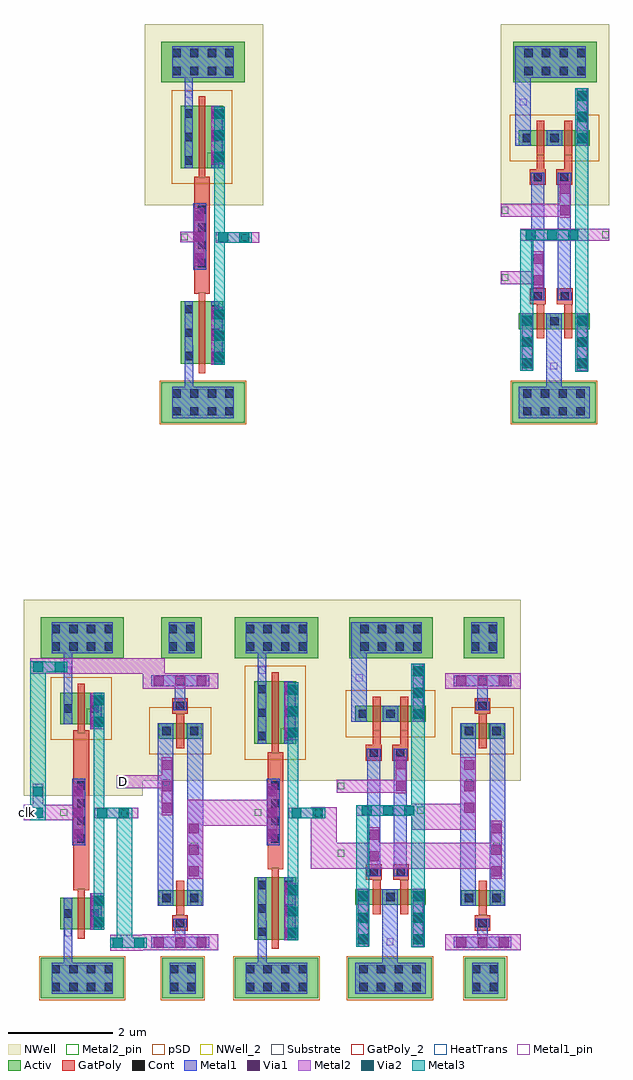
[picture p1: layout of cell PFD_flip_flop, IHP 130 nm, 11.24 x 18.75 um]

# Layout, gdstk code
from math import pi, radians
import gdstk
lib = gdstk.Library(unit=1e-6, precision=1e-09)
def R(c, l, rs):  # rectangles x0, y0, x1, y1
    for r in rs: c.add(gdstk.rectangle(r[:2], r[2:], *l))
def A(c, l, x, y, w, h, nx, ny, dx, dy):  # array of equal rectangles
    R(c, l, [(x+i*dx, y+j*dy, x+i*dx+w, y+j*dy+h) for i in range(nx) for j in range(ny)])
Activ = (1, 0)
GatPoly = (5, 0)
GatPoly_2 = (5, 2)
Cont = (6, 0)
Metal1 = (8, 0)
Metal1_pin = (8, 2)
Metal2 = (10, 0)
Metal2_pin = (10, 2)
pSD = (14, 0)
Via1 = (19, 0)
Via2 = (29, 0)
Metal3 = (30, 0)
NWell = (31, 0)
NWell_2 = (31, 2)
Substrate = (40, 0)
HeatTrans = (51, 0)

pmos_1 = lib.new_cell('pmos$1')
R(pmos_1, Activ, [(0,0,0.3,0.3), (0,0,0.83,0.3), (0.53,0,0.83,0.3)])
R(pmos_1, GatPoly, [(0.34,-0.18,0.49,0.48), (0.34,-0.18,0.49,0.48)])
R(pmos_1, Cont, [(0.07,0.07,0.23,0.23), (0.6,0.07,0.76,0.23)])
R(pmos_1, Metal1, [(0.07,0,0.23,0.3), (0.07,0,0.23,0.3), (0.6,0,0.76,0.3), (0.6,0,0.76,0.3)])
R(pmos_1, pSD, [(-0.18,-0.3,1.01,0.6)])
R(pmos_1, NWell, [(-0.31,-0.31,1.14,0.61)])
R(pmos_1, Substrate, [(0.53,0,0.83,0.3)])
R(pmos_1, HeatTrans, [(0.34,-0.18,0.49,0.48)])
pmos_1.add(gdstk.Label('pmos', (0.415,0.15), layer=63, texttype=0))
pmos_1.add(gdstk.Label('pmos', (0.415,0.15), layer=51, texttype=0))

ntap1_1 = lib.new_cell('ntap1$1')
R(ntap1_1, Activ, [(0,0,1.6,0.78)])
A(ntap1_1, Cont, 0.21, 0.14, 0.16, 0.16, 4, 2, 0.34, 0.34)
R(ntap1_1, Metal1, [(0.21,0.09,1.39,0.69)])
R(ntap1_1, Metal1_pin, [(0.21,0.09,1.39,0.69), (0.21,0.14,1.39,0.64)])
R(ntap1_1, NWell, [(-0.24,-0.24,1.84,1.02), (0,0,1.6,0.78)])
R(ntap1_1, NWell_2, [(0,0,1.6,0.78)])
ntap1_1.add(gdstk.Label('well', (0.8,0.01), layer=63, texttype=0))
ntap1_1.add(gdstk.Label('well', (0.8,0.01), layer=31, texttype=0))

via_5_1 = lib.new_cell('Via$5$1')
R(via_5_1, GatPoly, [(-0.15,-0.15,0.15,0.15)])
R(via_5_1, Cont, [(-0.08,-0.08,0.08,0.08)])
R(via_5_1, Metal1, [(-0.13,-0.08,0.13,0.08)])

via_6_1 = lib.new_cell('Via$6$1')
R(via_6_1, Metal1, [(-0.105,-0.35,0.105,0.35)])
R(via_6_1, Metal2, [(-0.1,-0.35,0.1,0.35)])
R(via_6_1, Via1, [(-0.095,-0.3,0.095,-0.11), (-0.095,0.11,0.095,0.3)])

ptap1_1 = lib.new_cell('ptap1$1')
R(ptap1_1, Activ, [(0,0,1.6,0.78)])
A(ptap1_1, Cont, 0.21, 0.14, 0.16, 0.16, 4, 2, 0.34, 0.34)
R(ptap1_1, Metal1, [(0.21,0.09,1.39,0.69), (0.21,0.14,1.39,0.64)])
R(ptap1_1, Metal1_pin, [(0.21,0.14,1.39,0.64)])
R(ptap1_1, pSD, [(-0.03,-0.03,1.63,0.81)])
R(ptap1_1, Substrate, [(0,0,1.6,0.78)])
ptap1_1.add(gdstk.Label('sub!', (0.8,0.01), layer=63, texttype=0))
ptap1_1.add(gdstk.Label('sub!', (0.8,0.01), layer=40, texttype=0))

nmos_1 = lib.new_cell('nmos$1')
R(nmos_1, Activ, [(0,0,0.3,0.3), (0,0,0.83,0.3), (0.53,0,0.83,0.3)])
R(nmos_1, GatPoly, [(0.34,-0.18,0.49,0.48)])
R(nmos_1, GatPoly_2, [(0.34,-0.18,0.49,0.48)])
R(nmos_1, Cont, [(0.07,0.07,0.23,0.23), (0.6,0.07,0.76,0.23)])
R(nmos_1, Metal1, [(0.07,0,0.23,0.3), (0.6,0,0.76,0.3)])
R(nmos_1, Metal1_pin, [(0.07,0,0.23,0.3), (0.6,0,0.76,0.3)])
R(nmos_1, HeatTrans, [(0.34,-0.18,0.49,0.48)])
nmos_1.add(gdstk.Label('nmos', (0.415,0.15), layer=63, texttype=0))
nmos_1.add(gdstk.Label('nmos', (0.415,0.15), layer=51, texttype=0))

via_2 = lib.new_cell('Via$2')
R(via_2, Metal2, [(-0.1,-0.555,0.1,0.555)])
A(via_2, Via2, -0.095, -0.505, 0.19, 0.19, 1, 3, 0, 0.41)
R(via_2, Metal3, [(-0.1,-0.555,0.1,0.555)])

via_1_1 = lib.new_cell('Via$1$1')
R(via_1_1, Metal1, [(-0.105,-0.555,0.105,0.555)])
R(via_1_1, Metal2, [(-0.1,-0.555,0.1,0.555)])
A(via_1_1, Via1, -0.095, -0.505, 0.19, 0.19, 1, 3, 0, 0.41)

via_7_1 = lib.new_cell('Via$7$1')
R(via_7_1, Metal2, [(-0.555,-0.1,0.555,0.1)])
A(via_7_1, Via2, -0.505, -0.095, 0.19, 0.19, 3, 1, 0.41, 0)
R(via_7_1, Metal3, [(-0.555,-0.1,0.555,0.1)])

pfd_nor_1 = lib.new_cell('PFD_NOR$1')
R(pfd_nor_1, GatPoly, [(0.53,0.13,0.68,0.41), (0,0.14,0.15,0.41)])
R(pfd_nor_1, Metal1, [(-0.34,-4.64,1.02,-4.04), (0.19,0.59,0.49,0.89)])
R(pfd_nor_1, Metal1_pin, [(0.265,-3.705,0.395,-3.575), (-0.325,1.365,-0.195,1.495)])
R(pfd_nor_1, Metal2, [(-0.315,-1.23,1.39,-1)])
R(pfd_nor_1, Metal2_pin, [(-0.675,-2.005,-0.545,-1.875), (1.255,-1.185,1.385,-1.055), (-0.675,-0.715,-0.545,-0.585)])
R(pfd_nor_1, Metal3, [(-0.315,-1.06,-0.26,-1.02)])
R(pfd_nor_1, NWell, [(-0.69,-0.55,1.39,2.93)])
pfd_nor_1.add(gdstk.FlexPath([(0.64,-0.65),(-0.69,-0.65)], 0.25, ends="flush", simple_path=True, layer=10, datatype=0))  # Metal2
pfd_nor_1.add(gdstk.FlexPath([(0.125,-1.945),(-0.69,-1.945)], 0.25, ends="flush", simple_path=True, layer=10, datatype=0))  # Metal2
pfd_nor_1.add(gdstk.FlexPath([(-0.19,-3.735),(-0.19,-1.06)], 0.25, ends="flush", simple_path=True, layer=30, datatype=0))  # Metal3
pfd_nor_1.add(gdstk.FlexPath([(0.87,1.7),(0.87,-3.75)], 0.25, ends="flush", simple_path=True, layer=30, datatype=0))  # Metal3
pfd_nor_1.add(gdstk.FlexPath([(-0.26,0.59),(-0.26,2.5)], 0.3, ends="flush", simple_path=True, layer=8, datatype=0))  # Metal1
pfd_nor_1.add(gdstk.FlexPath([(0.02,0.07),(0.02,-2.38)], 0.25, ends="flush", simple_path=True, layer=8, datatype=0))  # Metal1
pfd_nor_1.add(gdstk.FlexPath([(0.53,0.07),(0.53,-2.38)], 0.25, ends="flush", simple_path=True, layer=8, datatype=0))  # Metal1
pfd_nor_1.add(gdstk.FlexPath([(0.33,-2.63),(0.33,-4.04)], 0.3, ends="flush", simple_path=True, layer=8, datatype=0))  # Metal1
pfd_nor_1.add(gdstk.Reference(pmos_1, (-0.34,0.59)))
pfd_nor_1.add(gdstk.Reference(pmos_1, (0.19,0.59)))
pfd_nor_1.add(gdstk.Reference(ntap1_1, (-0.45,1.81)))
pfd_nor_1.add(gdstk.Reference(via_5_1, (0.02,-0.01)))
pfd_nor_1.add(gdstk.Reference(via_5_1, (0.53,-0.01)))
pfd_nor_1.add(gdstk.Reference(via_5_1, (0.02,-2.3)))
pfd_nor_1.add(gdstk.Reference(via_5_1, (0.54,-2.3)))
pfd_nor_1.add(gdstk.Reference(via_6_1, (0.025,-1.79)))
pfd_nor_1.add(gdstk.Reference(via_6_1, (0.545,-0.44)))
pfd_nor_1.add(gdstk.Reference(ptap1_1, (-0.47,-4.73)))
pfd_nor_1.add(gdstk.Reference(nmos_1, (-0.34,-2.93)))
pfd_nor_1.add(gdstk.Reference(nmos_1, (0.19,-2.93)))
pfd_nor_1.add(gdstk.Reference(via_2, (0.87,1.145)))
pfd_nor_1.add(gdstk.Reference(via_1_1, (0.875,1.145)))
pfd_nor_1.add(gdstk.Reference(via_2, (0.87,-3.18)))
pfd_nor_1.add(gdstk.Reference(via_1_1, (0.875,-3.18)))
pfd_nor_1.add(gdstk.Reference(via_2, (-0.19,-3.18)))
pfd_nor_1.add(gdstk.Reference(via_1_1, (-0.185,-3.18)))
pfd_nor_1.add(gdstk.Reference(via_7_1, (0.295,-1.12)))
pfd_nor_1.add(gdstk.Label('Out', (1.32,-1.12), layer=10, texttype=25))
pfd_nor_1.add(gdstk.Label('A', (-0.61,-0.65), layer=10, texttype=25))
pfd_nor_1.add(gdstk.Label('B', (-0.61,-1.94), layer=10, texttype=25))
pfd_nor_1.add(gdstk.Label('gd', (0.33,-3.64), layer=8, texttype=25))
pfd_nor_1.add(gdstk.Label('vp', (-0.26,1.43), layer=8, texttype=25))

pmos_2 = lib.new_cell('pmos$2')
R(pmos_2, Activ, [(0,0,0.3,0.3), (0,0,0.83,0.3), (0.53,0,0.83,0.3)])
R(pmos_2, GatPoly, [(0.34,-0.18,0.49,0.48), (0.34,-0.18,0.49,0.48)])
R(pmos_2, Cont, [(0.07,0.07,0.23,0.23), (0.6,0.07,0.76,0.23)])
R(pmos_2, Metal1, [(0.07,0,0.23,0.3), (0.07,0,0.23,0.3), (0.6,0,0.76,0.3), (0.6,0,0.76,0.3)])
R(pmos_2, pSD, [(-0.18,-0.3,1.01,0.6)])
R(pmos_2, NWell, [(-0.31,-0.31,1.14,0.61)])
R(pmos_2, Substrate, [(0.53,0,0.83,0.3)])
R(pmos_2, HeatTrans, [(0.34,-0.18,0.49,0.48)])
pmos_2.add(gdstk.Label('pmos', (0.415,0.15), layer=63, texttype=0))
pmos_2.add(gdstk.Label('pmos', (0.415,0.15), layer=51, texttype=0))

nmos_2 = lib.new_cell('nmos$2')
R(nmos_2, Activ, [(0,0,0.3,0.3), (0,0,0.83,0.3), (0.53,0,0.83,0.3)])
R(nmos_2, GatPoly, [(0.34,-0.18,0.49,0.48)])
R(nmos_2, GatPoly_2, [(0.34,-0.18,0.49,0.48)])
R(nmos_2, Cont, [(0.07,0.07,0.23,0.23), (0.6,0.07,0.76,0.23)])
R(nmos_2, Metal1, [(0.07,0,0.23,0.3), (0.6,0,0.76,0.3)])
R(nmos_2, Metal1_pin, [(0.07,0,0.23,0.3), (0.6,0,0.76,0.3)])
R(nmos_2, HeatTrans, [(0.34,-0.18,0.49,0.48)])
nmos_2.add(gdstk.Label('nmos', (0.415,0.15), layer=63, texttype=0))
nmos_2.add(gdstk.Label('nmos', (0.415,0.15), layer=51, texttype=0))

ptap1_2 = lib.new_cell('ptap1$2')
R(ptap1_2, Activ, [(0,0,0.78,0.78)])
R(ptap1_2, Cont, [(0.14,0.14,0.3,0.3), (0.48,0.14,0.64,0.3), (0.14,0.48,0.3,0.64), (0.48,0.48,0.64,0.64)])
R(ptap1_2, Metal1, [(0.14,0.09,0.64,0.69), (0.14,0.14,0.64,0.64)])
R(ptap1_2, Metal1_pin, [(0.14,0.14,0.64,0.64)])
R(ptap1_2, pSD, [(-0.03,-0.03,0.81,0.81)])
R(ptap1_2, Substrate, [(0,0,0.78,0.78)])
ptap1_2.add(gdstk.Label('sub!', (0.39,0.01), layer=63, texttype=0))
ptap1_2.add(gdstk.Label('sub!', (0.39,0.01), layer=40, texttype=0))

ntap1_2 = lib.new_cell('ntap1$2')
R(ntap1_2, Activ, [(0,0,0.78,0.78)])
R(ntap1_2, Cont, [(0.14,0.14,0.3,0.3), (0.48,0.14,0.64,0.3), (0.14,0.48,0.3,0.64), (0.48,0.48,0.64,0.64)])
R(ntap1_2, Metal1, [(0.14,0.09,0.64,0.69)])
R(ntap1_2, Metal1_pin, [(0.14,0.09,0.64,0.69), (0.14,0.14,0.64,0.64)])
R(ntap1_2, NWell, [(-0.24,-0.24,1.02,1.02), (0,0,0.78,0.78)])
R(ntap1_2, NWell_2, [(0,0,0.78,0.78)])
ntap1_2.add(gdstk.Label('well', (0.39,0.01), layer=63, texttype=0))
ntap1_2.add(gdstk.Label('well', (0.39,0.01), layer=31, texttype=0))

via_10 = lib.new_cell('Via$10')
R(via_10, Metal1, [(-0.555,-0.105,0.555,0.105)])
R(via_10, Metal2, [(-0.555,-0.1,0.555,0.1)])
A(via_10, Via1, -0.505, -0.095, 0.19, 0.19, 3, 1, 0.41, 0)

via_5_2 = lib.new_cell('Via$5$2')
R(via_5_2, GatPoly, [(-0.15,-0.15,0.15,0.15)])
R(via_5_2, Cont, [(-0.08,-0.08,0.08,0.08)])
R(via_5_2, Metal1, [(-0.13,-0.08,0.13,0.08)])

via_3 = lib.new_cell('Via$3')
R(via_3, Metal1, [(-0.105,-0.555,0.105,0.555)])
R(via_3, Metal2, [(-0.1,-0.555,0.1,0.555)])
A(via_3, Via1, -0.095, -0.505, 0.19, 0.19, 1, 3, 0, 0.41)

pfd_passgate = lib.new_cell('PFD_passgate')
R(pfd_passgate, Metal1_pin, [(-3.245,-4.395,-3.115,-4.265), (-3.245,2.135,-3.115,2.265)])
R(pfd_passgate, Metal2_pin, [(-3.295,-3.705,-3.165,-3.575), (-3.015,-1.865,-2.885,-1.735), (-3.545,-0.645,-3.415,-0.515), (-3.285,1.295,-3.155,1.425)])
R(pfd_passgate, NWell, [(-3.94,-0.55,-2.49,2.83), (-3.94,2.83,-2.49,2.93)])
pfd_passgate.add(gdstk.FlexPath([(-3.94,-3.65),(-2.49,-3.65)], 0.3, ends="flush", simple_path=True, layer=10, datatype=0))  # Metal2
pfd_passgate.add(gdstk.FlexPath([(-3.94,1.37),(-2.49,1.37)], 0.3, ends="flush", simple_path=True, layer=10, datatype=0))  # Metal2
pfd_passgate.add(gdstk.FlexPath([(-2.93,0.56),(-2.93,-2.95)], 0.3, ends="flush", simple_path=True, layer=8, datatype=0))  # Metal1
pfd_passgate.add(gdstk.FlexPath([(-3.5,0.56),(-3.5,-2.95)], 0.3, ends="flush", simple_path=True, layer=8, datatype=0))  # Metal1
pfd_passgate.add(gdstk.FlexPath([(-3.22,0.81),(-3.22,1.33)], 0.2, ends="flush", simple_path=True, layer=8, datatype=0))  # Metal1
pfd_passgate.add(gdstk.FlexPath([(-3.22,-3.72),(-3.22,-3.2)], 0.2, ends="flush", simple_path=True, layer=8, datatype=0))  # Metal1
pfd_passgate.add(gdstk.Reference(pmos_2, (-3.63,0.26)))
pfd_passgate.add(gdstk.Reference(nmos_2, (-3.63,-2.95)))
pfd_passgate.add(gdstk.Reference(ptap1_2, (-3.56,-4.73)))
pfd_passgate.add(gdstk.Reference(ntap1_2, (-3.58,1.81)))
pfd_passgate.add(gdstk.Reference(via_10, (-3.22,1.37)))
pfd_passgate.add(gdstk.Reference(via_5_2, (-3.22,0.89)))
pfd_passgate.add(gdstk.Reference(via_5_2, (-3.22,-3.28)))
pfd_passgate.add(gdstk.Reference(via_10, (-3.22,-3.65)))
pfd_passgate.add(gdstk.Reference(via_3, (-3.475,-0.655)))
pfd_passgate.add(gdstk.Reference(via_3, (-2.955,-1.875)))
pfd_passgate.add(gdstk.Label('A', (-3.48,-0.58), layer=10, texttype=25))
pfd_passgate.add(gdstk.Label('B', (-2.95,-1.8), layer=10, texttype=25))
pfd_passgate.add(gdstk.Label('in_p', (-3.22,1.36), layer=10, texttype=25))
pfd_passgate.add(gdstk.Label('in_n', (-3.23,-3.64), layer=10, texttype=25))
pfd_passgate.add(gdstk.Label('gnd', (-3.18,-4.33), layer=8, texttype=25))
pfd_passgate.add(gdstk.Label('vp', (-3.18,2.2), layer=8, texttype=25))

pmos_2_2 = lib.new_cell('pmos$2$2')
R(pmos_2_2, Activ, [(0,0,0.3,0.3), (0,0,0.83,0.3), (0.53,0,0.83,0.3)])
R(pmos_2_2, GatPoly, [(0.34,-0.18,0.49,0.48), (0.34,-0.18,0.49,0.48)])
R(pmos_2_2, Cont, [(0.07,0.07,0.23,0.23), (0.6,0.07,0.76,0.23)])
R(pmos_2_2, Metal1, [(0.07,0,0.23,0.3), (0.07,0,0.23,0.3), (0.6,0,0.76,0.3), (0.6,0,0.76,0.3)])
R(pmos_2_2, pSD, [(-0.18,-0.3,1.01,0.6)])
R(pmos_2_2, NWell, [(-0.31,-0.31,1.14,0.61)])
R(pmos_2_2, Substrate, [(0.53,0,0.83,0.3)])
R(pmos_2_2, HeatTrans, [(0.34,-0.18,0.49,0.48)])
pmos_2_2.add(gdstk.Label('pmos', (0.415,0.15), layer=63, texttype=0))
pmos_2_2.add(gdstk.Label('pmos', (0.415,0.15), layer=51, texttype=0))

nmos_2_2 = lib.new_cell('nmos$2$2')
R(nmos_2_2, Activ, [(0,0,0.3,0.3), (0,0,0.83,0.3), (0.53,0,0.83,0.3)])
R(nmos_2_2, GatPoly, [(0.34,-0.18,0.49,0.48)])
R(nmos_2_2, GatPoly_2, [(0.34,-0.18,0.49,0.48)])
R(nmos_2_2, Cont, [(0.07,0.07,0.23,0.23), (0.6,0.07,0.76,0.23)])
R(nmos_2_2, Metal1, [(0.07,0,0.23,0.3), (0.6,0,0.76,0.3)])
R(nmos_2_2, Metal1_pin, [(0.07,0,0.23,0.3), (0.6,0,0.76,0.3)])
R(nmos_2_2, HeatTrans, [(0.34,-0.18,0.49,0.48)])
nmos_2_2.add(gdstk.Label('nmos', (0.415,0.15), layer=63, texttype=0))
nmos_2_2.add(gdstk.Label('nmos', (0.415,0.15), layer=51, texttype=0))

ptap1_2_2 = lib.new_cell('ptap1$2$2')
R(ptap1_2_2, Activ, [(0,0,0.78,0.78)])
R(ptap1_2_2, Cont, [(0.14,0.14,0.3,0.3), (0.48,0.14,0.64,0.3), (0.14,0.48,0.3,0.64), (0.48,0.48,0.64,0.64)])
R(ptap1_2_2, Metal1, [(0.14,0.09,0.64,0.69), (0.14,0.14,0.64,0.64)])
R(ptap1_2_2, Metal1_pin, [(0.14,0.14,0.64,0.64)])
R(ptap1_2_2, pSD, [(-0.03,-0.03,0.81,0.81)])
R(ptap1_2_2, Substrate, [(0,0,0.78,0.78)])
ptap1_2_2.add(gdstk.Label('sub!', (0.39,0.01), layer=63, texttype=0))
ptap1_2_2.add(gdstk.Label('sub!', (0.39,0.01), layer=40, texttype=0))

ntap1_2_2 = lib.new_cell('ntap1$2$2')
R(ntap1_2_2, Activ, [(0,0,0.78,0.78)])
R(ntap1_2_2, Cont, [(0.14,0.14,0.3,0.3), (0.48,0.14,0.64,0.3), (0.14,0.48,0.3,0.64), (0.48,0.48,0.64,0.64)])
R(ntap1_2_2, Metal1, [(0.14,0.09,0.64,0.69)])
R(ntap1_2_2, Metal1_pin, [(0.14,0.09,0.64,0.69), (0.14,0.14,0.64,0.64)])
R(ntap1_2_2, NWell, [(-0.24,-0.24,1.02,1.02), (0,0,0.78,0.78)])
R(ntap1_2_2, NWell_2, [(0,0,0.78,0.78)])
ntap1_2_2.add(gdstk.Label('well', (0.39,0.01), layer=63, texttype=0))
ntap1_2_2.add(gdstk.Label('well', (0.39,0.01), layer=31, texttype=0))

via_10_2 = lib.new_cell('Via$10$2')
R(via_10_2, Metal1, [(-0.555,-0.105,0.555,0.105)])
R(via_10_2, Metal2, [(-0.555,-0.1,0.555,0.1)])
A(via_10_2, Via1, -0.505, -0.095, 0.19, 0.19, 3, 1, 0.41, 0)

via_5_2_2 = lib.new_cell('Via$5$2$2')
R(via_5_2_2, GatPoly, [(-0.15,-0.15,0.15,0.15)])
R(via_5_2_2, Cont, [(-0.08,-0.08,0.08,0.08)])
R(via_5_2_2, Metal1, [(-0.13,-0.08,0.13,0.08)])

via_3_3 = lib.new_cell('Via$3$3')
R(via_3_3, Metal1, [(-0.105,-0.555,0.105,0.555)])
R(via_3_3, Metal2, [(-0.1,-0.555,0.1,0.555)])
A(via_3_3, Via1, -0.095, -0.505, 0.19, 0.19, 1, 3, 0, 0.41)

pfd_passgate_2 = lib.new_cell('PFD_passgate$2')
R(pfd_passgate_2, Metal1_pin, [(-3.245,-4.395,-3.115,-4.265), (-3.245,2.135,-3.115,2.265)])
R(pfd_passgate_2, Metal2_pin, [(-3.295,-3.705,-3.165,-3.575), (-3.015,-1.865,-2.885,-1.735), (-3.545,-0.645,-3.415,-0.515), (-3.285,1.295,-3.155,1.425)])
R(pfd_passgate_2, NWell, [(-3.94,-0.55,-2.49,2.83), (-3.94,2.83,-2.49,2.93)])
pfd_passgate_2.add(gdstk.FlexPath([(-3.94,-3.65),(-2.49,-3.65)], 0.3, ends="flush", simple_path=True, layer=10, datatype=0))  # Metal2
pfd_passgate_2.add(gdstk.FlexPath([(-3.94,1.37),(-2.49,1.37)], 0.3, ends="flush", simple_path=True, layer=10, datatype=0))  # Metal2
pfd_passgate_2.add(gdstk.FlexPath([(-2.93,0.56),(-2.93,-2.95)], 0.3, ends="flush", simple_path=True, layer=8, datatype=0))  # Metal1
pfd_passgate_2.add(gdstk.FlexPath([(-3.5,0.56),(-3.5,-2.95)], 0.3, ends="flush", simple_path=True, layer=8, datatype=0))  # Metal1
pfd_passgate_2.add(gdstk.FlexPath([(-3.22,0.81),(-3.22,1.33)], 0.2, ends="flush", simple_path=True, layer=8, datatype=0))  # Metal1
pfd_passgate_2.add(gdstk.FlexPath([(-3.22,-3.72),(-3.22,-3.2)], 0.2, ends="flush", simple_path=True, layer=8, datatype=0))  # Metal1
pfd_passgate_2.add(gdstk.Reference(pmos_2_2, (-3.63,0.26)))
pfd_passgate_2.add(gdstk.Reference(nmos_2_2, (-3.63,-2.95)))
pfd_passgate_2.add(gdstk.Reference(ptap1_2_2, (-3.56,-4.73)))
pfd_passgate_2.add(gdstk.Reference(ntap1_2_2, (-3.58,1.81)))
pfd_passgate_2.add(gdstk.Reference(via_10_2, (-3.22,1.37)))
pfd_passgate_2.add(gdstk.Reference(via_5_2_2, (-3.22,0.89)))
pfd_passgate_2.add(gdstk.Reference(via_5_2_2, (-3.22,-3.28)))
pfd_passgate_2.add(gdstk.Reference(via_10_2, (-3.22,-3.65)))
pfd_passgate_2.add(gdstk.Reference(via_3_3, (-3.475,-0.655)))
pfd_passgate_2.add(gdstk.Reference(via_3_3, (-2.955,-1.875)))
pfd_passgate_2.add(gdstk.Label('A', (-3.48,-0.58), layer=10, texttype=25))
pfd_passgate_2.add(gdstk.Label('B', (-2.95,-1.8), layer=10, texttype=25))
pfd_passgate_2.add(gdstk.Label('in_p', (-3.22,1.36), layer=10, texttype=25))
pfd_passgate_2.add(gdstk.Label('in_n', (-3.23,-3.64), layer=10, texttype=25))
pfd_passgate_2.add(gdstk.Label('gnd', (-3.18,-4.33), layer=8, texttype=25))
pfd_passgate_2.add(gdstk.Label('vp', (-3.18,2.2), layer=8, texttype=25))

via_4 = lib.new_cell('Via$4')
R(via_4, Metal2, [(-0.1,-0.555,0.1,0.555)])
A(via_4, Via2, -0.095, -0.505, 0.19, 0.19, 1, 3, 0, 0.41)
R(via_4, Metal3, [(-0.1,-0.555,0.1,0.555)])

via_2_1 = lib.new_cell('Via$2$1')
R(via_2_1, Metal1, [(-0.105,-0.555,0.105,0.555)])
R(via_2_1, Metal2, [(-0.1,-0.555,0.1,0.555)])
A(via_2_1, Via1, -0.095, -0.505, 0.19, 0.19, 1, 3, 0, 0.41)

via_3_2 = lib.new_cell('Via$3$2')
R(via_3_2, Metal2, [(-0.35,-0.1,0.35,0.1)])
R(via_3_2, Via2, [(-0.3,-0.095,-0.11,0.095), (0.11,-0.095,0.3,0.095)])
R(via_3_2, Metal3, [(-0.35,-0.1,0.35,0.1)])

ntap1_3 = lib.new_cell('ntap1$3')
R(ntap1_3, Activ, [(0,0,1.6,0.78)])
A(ntap1_3, Cont, 0.21, 0.14, 0.16, 0.16, 4, 2, 0.34, 0.34)
R(ntap1_3, Metal1, [(0.21,0.09,1.39,0.69)])
R(ntap1_3, Metal1_pin, [(0.21,0.09,1.39,0.69), (0.21,0.14,1.39,0.64)])
R(ntap1_3, NWell, [(-0.24,-0.24,1.84,1.02), (0,0,1.6,0.78)])
R(ntap1_3, NWell_2, [(0,0,1.6,0.78)])
ntap1_3.add(gdstk.Label('well', (0.8,0.01), layer=63, texttype=0))
ntap1_3.add(gdstk.Label('well', (0.8,0.01), layer=31, texttype=0))

ptap1_3 = lib.new_cell('ptap1$3')
R(ptap1_3, Activ, [(0,0,1.6,0.78)])
A(ptap1_3, Cont, 0.21, 0.14, 0.16, 0.16, 4, 2, 0.34, 0.34)
R(ptap1_3, Metal1, [(0.21,0.09,1.39,0.69), (0.21,0.14,1.39,0.64)])
R(ptap1_3, Metal1_pin, [(0.21,0.14,1.39,0.64)])
R(ptap1_3, pSD, [(-0.03,-0.03,1.63,0.81)])
R(ptap1_3, Substrate, [(0,0,1.6,0.78)])
ptap1_3.add(gdstk.Label('sub!', (0.8,0.01), layer=63, texttype=0))
ptap1_3.add(gdstk.Label('sub!', (0.8,0.01), layer=40, texttype=0))

nmos_3 = lib.new_cell('nmos$3')
R(nmos_3, Activ, [(0,0,0.3,0.3), (0,0,0.81,1.2), (0.51,0,0.81,0.3)])
R(nmos_3, GatPoly, [(0.34,-0.18,0.47,1.38)])
R(nmos_3, GatPoly_2, [(0.34,-0.18,0.47,1.38)])
A(nmos_3, Cont, 0.07, 0.07, 0.16, 0.16, 1, 3, 0, 0.45)
A(nmos_3, Cont, 0.58, 0.07, 0.16, 0.16, 1, 3, 0, 0.45)
R(nmos_3, Metal1, [(0.07,0,0.23,1.2), (0.58,0,0.74,1.2)])
R(nmos_3, Metal1_pin, [(0.07,0,0.23,1.2), (0.58,0,0.74,1.2)])
R(nmos_3, HeatTrans, [(0.34,-0.18,0.47,1.38)])
nmos_3.add(gdstk.Label('nmos', (0.405,0.6), layer=63, texttype=0))
nmos_3.add(gdstk.Label('nmos', (0.405,0.6), layer=51, texttype=0))

pmos_3 = lib.new_cell('pmos$3')
R(pmos_3, Activ, [(0,0,0.3,0.3), (0,0,0.81,1.2), (0.51,0,0.81,0.3)])
R(pmos_3, GatPoly, [(0.34,-0.18,0.47,1.38), (0.34,-0.18,0.47,1.38)])
A(pmos_3, Cont, 0.07, 0.07, 0.16, 0.16, 1, 3, 0, 0.45)
A(pmos_3, Cont, 0.58, 0.07, 0.16, 0.16, 1, 3, 0, 0.45)
R(pmos_3, Metal1, [(0.07,0,0.23,1.2), (0.07,0,0.23,1.2), (0.58,0,0.74,1.2), (0.58,0,0.74,1.2)])
R(pmos_3, pSD, [(-0.18,-0.3,0.99,1.5)])
R(pmos_3, NWell, [(-0.31,-0.31,1.12,1.51)])
R(pmos_3, Substrate, [(0.51,0,0.81,0.3)])
R(pmos_3, HeatTrans, [(0.34,-0.18,0.47,1.38)])
pmos_3.add(gdstk.Label('pmos', (0.405,0.6), layer=63, texttype=0))
pmos_3.add(gdstk.Label('pmos', (0.405,0.6), layer=51, texttype=0))

via_4_1 = lib.new_cell('Via$4$1')
R(via_4_1, GatPoly, [(-0.15,-0.66,0.15,0.66)])
A(via_4_1, Cont, -0.08, -0.59, 0.16, 0.16, 1, 4, 0, 0.34)
R(via_4_1, Metal1, [(-0.08,-0.64,0.08,0.64)])

inverter_x8 = lib.new_cell('inverter_x8')
R(inverter_x8, GatPoly, [(-0.265,-2.855,-0.135,-2.655), (-0.35,-2.25,-0.05,-1.81), (-0.35,-0.49,-0.05,0)])
R(inverter_x8, Metal1, [(-0.535,-4.45,-0.37,-3.805), (-0.535,-3.805,-0.37,-3.24), (-0.37,-1.79,-0.35,-0.51), (-0.35,-1.79,-0.28,-0.51), (-0.535,0.96,-0.375,1.26), (-0.535,1.245,-0.375,2.235)])
R(inverter_x8, Metal1_pin, [(-0.52,-3.54,-0.39,-3.41), (-0.52,1.51,-0.39,1.64)])
R(inverter_x8, Metal2, [(0.53,-1.27,0.9,-1.07), (-0.62,-1.26,-0.28,-1.06)])
R(inverter_x8, Metal2_pin, [(0.555,-1.235,0.685,-1.105), (-0.6,-1.225,-0.47,-1.095)])
R(inverter_x8, Metal3, [(0.04,-3.09,0.24,-2.63), (0.04,-2.7,0.24,-0.24), (0.04,-0.34,0.24,0.76)])
R(inverter_x8, NWell, [(-1.3,-0.55,0.98,0.655), (-1.3,0.655,0.755,2.925), (0.755,0.655,0.98,2.925)])
inverter_x8.add(gdstk.Reference(via_4, (0.14,-3.06)))
inverter_x8.add(gdstk.Reference(via_2_1, (0.08,-3.06)))
inverter_x8.add(gdstk.Reference(via_2_1, (-0.26,-1.16)))
inverter_x8.add(gdstk.Reference(via_3_2, (0.41,-1.17)))
inverter_x8.add(gdstk.Reference(via_4, (0.14,0.79)))
inverter_x8.add(gdstk.Reference(via_2_1, (0.08,0.79)))
inverter_x8.add(gdstk.Reference(ntap1_3, (-0.98,1.81)))
inverter_x8.add(gdstk.Reference(ptap1_3, (-0.98,-4.73)))
inverter_x8.add(gdstk.Reference(nmos_3, (-0.605,-3.6)))
inverter_x8.add(gdstk.Reference(pmos_3, (-0.605,0.16)))
inverter_x8.add(gdstk.Reference(via_4_1, (-0.2,-1.15)))
inverter_x8.add(gdstk.Label('OUT', (0.62,-1.17), layer=10, texttype=25))
inverter_x8.add(gdstk.Label('IN', (-0.54,-1.16), layer=10, texttype=25))
inverter_x8.add(gdstk.Label('GND', (-0.455,-3.47), layer=8, texttype=25))
inverter_x8.add(gdstk.Label('VP', (-0.455,1.57), layer=8, texttype=25))

via_4_2 = lib.new_cell('Via$4$2')
R(via_4_2, Metal2, [(-0.1,-0.555,0.1,0.555)])
A(via_4_2, Via2, -0.095, -0.505, 0.19, 0.19, 1, 3, 0, 0.41)
R(via_4_2, Metal3, [(-0.1,-0.555,0.1,0.555)])

via_2_1_1 = lib.new_cell('Via$2$1$1')
R(via_2_1_1, Metal1, [(-0.105,-0.555,0.105,0.555)])
R(via_2_1_1, Metal2, [(-0.1,-0.555,0.1,0.555)])
A(via_2_1_1, Via1, -0.095, -0.505, 0.19, 0.19, 1, 3, 0, 0.41)

via_3_2_1 = lib.new_cell('Via$3$2$1')
R(via_3_2_1, Metal2, [(-0.35,-0.1,0.35,0.1)])
R(via_3_2_1, Via2, [(-0.3,-0.095,-0.11,0.095), (0.11,-0.095,0.3,0.095)])
R(via_3_2_1, Metal3, [(-0.35,-0.1,0.35,0.1)])

ntap1_3_1 = lib.new_cell('ntap1$3$1')
R(ntap1_3_1, Activ, [(0,0,1.6,0.78)])
A(ntap1_3_1, Cont, 0.21, 0.14, 0.16, 0.16, 4, 2, 0.34, 0.34)
R(ntap1_3_1, Metal1, [(0.21,0.09,1.39,0.69)])
R(ntap1_3_1, Metal1_pin, [(0.21,0.09,1.39,0.69), (0.21,0.14,1.39,0.64)])
R(ntap1_3_1, NWell, [(-0.24,-0.24,1.84,1.02), (0,0,1.6,0.78)])
R(ntap1_3_1, NWell_2, [(0,0,1.6,0.78)])
ntap1_3_1.add(gdstk.Label('well', (0.8,0.01), layer=63, texttype=0))
ntap1_3_1.add(gdstk.Label('well', (0.8,0.01), layer=31, texttype=0))

ptap1_3_1 = lib.new_cell('ptap1$3$1')
R(ptap1_3_1, Activ, [(0,0,1.6,0.78)])
A(ptap1_3_1, Cont, 0.21, 0.14, 0.16, 0.16, 4, 2, 0.34, 0.34)
R(ptap1_3_1, Metal1, [(0.21,0.09,1.39,0.69), (0.21,0.14,1.39,0.64)])
R(ptap1_3_1, Metal1_pin, [(0.21,0.14,1.39,0.64)])
R(ptap1_3_1, pSD, [(-0.03,-0.03,1.63,0.81)])
R(ptap1_3_1, Substrate, [(0,0,1.6,0.78)])
ptap1_3_1.add(gdstk.Label('sub!', (0.8,0.01), layer=63, texttype=0))
ptap1_3_1.add(gdstk.Label('sub!', (0.8,0.01), layer=40, texttype=0))

nmos_3_1 = lib.new_cell('nmos$3$1')
R(nmos_3_1, Activ, [(0,0,0.3,0.3), (0,0,0.81,1.2), (0.51,0,0.81,0.3)])
R(nmos_3_1, GatPoly, [(0.34,-0.18,0.47,1.38)])
R(nmos_3_1, GatPoly_2, [(0.34,-0.18,0.47,1.38)])
A(nmos_3_1, Cont, 0.07, 0.07, 0.16, 0.16, 1, 3, 0, 0.45)
A(nmos_3_1, Cont, 0.58, 0.07, 0.16, 0.16, 1, 3, 0, 0.45)
R(nmos_3_1, Metal1, [(0.07,0,0.23,1.2), (0.58,0,0.74,1.2)])
R(nmos_3_1, Metal1_pin, [(0.07,0,0.23,1.2), (0.58,0,0.74,1.2)])
R(nmos_3_1, HeatTrans, [(0.34,-0.18,0.47,1.38)])
nmos_3_1.add(gdstk.Label('nmos', (0.405,0.6), layer=63, texttype=0))
nmos_3_1.add(gdstk.Label('nmos', (0.405,0.6), layer=51, texttype=0))

pmos_3_1 = lib.new_cell('pmos$3$1')
R(pmos_3_1, Activ, [(0,0,0.3,0.3), (0,0,0.81,1.2), (0.51,0,0.81,0.3)])
R(pmos_3_1, GatPoly, [(0.34,-0.18,0.47,1.38), (0.34,-0.18,0.47,1.38)])
A(pmos_3_1, Cont, 0.07, 0.07, 0.16, 0.16, 1, 3, 0, 0.45)
A(pmos_3_1, Cont, 0.58, 0.07, 0.16, 0.16, 1, 3, 0, 0.45)
R(pmos_3_1, Metal1, [(0.07,0,0.23,1.2), (0.07,0,0.23,1.2), (0.58,0,0.74,1.2), (0.58,0,0.74,1.2)])
R(pmos_3_1, pSD, [(-0.18,-0.3,0.99,1.5)])
R(pmos_3_1, NWell, [(-0.31,-0.31,1.12,1.51)])
R(pmos_3_1, Substrate, [(0.51,0,0.81,0.3)])
R(pmos_3_1, HeatTrans, [(0.34,-0.18,0.47,1.38)])
pmos_3_1.add(gdstk.Label('pmos', (0.405,0.6), layer=63, texttype=0))
pmos_3_1.add(gdstk.Label('pmos', (0.405,0.6), layer=51, texttype=0))

via_4_1_1 = lib.new_cell('Via$4$1$1')
R(via_4_1_1, GatPoly, [(-0.15,-0.66,0.15,0.66)])
A(via_4_1_1, Cont, -0.08, -0.59, 0.16, 0.16, 1, 4, 0, 0.34)
R(via_4_1_1, Metal1, [(-0.08,-0.64,0.08,0.64)])

inverter_x8_1 = lib.new_cell('inverter_x8$1')
R(inverter_x8_1, GatPoly, [(-0.265,-2.855,-0.135,-2.655), (-0.35,-2.25,-0.05,-1.81), (-0.35,-0.49,-0.05,0)])
R(inverter_x8_1, Metal1, [(-0.535,-4.45,-0.37,-3.805), (-0.535,-3.805,-0.37,-3.24), (-0.37,-1.79,-0.35,-0.51), (-0.35,-1.79,-0.28,-0.51), (-0.535,0.96,-0.375,1.26), (-0.535,1.245,-0.375,2.235)])
R(inverter_x8_1, Metal1_pin, [(-0.52,-3.54,-0.39,-3.41), (-0.52,1.51,-0.39,1.64)])
R(inverter_x8_1, Metal2, [(0.53,-1.27,0.9,-1.07), (-0.62,-1.26,-0.28,-1.06)])
R(inverter_x8_1, Metal2_pin, [(0.555,-1.235,0.685,-1.105), (-0.6,-1.225,-0.47,-1.095)])
R(inverter_x8_1, Metal3, [(0.04,-3.09,0.24,-2.63), (0.04,-2.7,0.24,-0.24), (0.04,-0.34,0.24,0.76)])
R(inverter_x8_1, NWell, [(-1.3,-0.55,0.98,0.655), (-1.3,0.655,0.755,2.925), (0.755,0.655,0.98,2.925)])
inverter_x8_1.add(gdstk.Reference(via_4_2, (0.14,-3.06)))
inverter_x8_1.add(gdstk.Reference(via_2_1_1, (0.08,-3.06)))
inverter_x8_1.add(gdstk.Reference(via_2_1_1, (-0.26,-1.16)))
inverter_x8_1.add(gdstk.Reference(via_3_2_1, (0.41,-1.17)))
inverter_x8_1.add(gdstk.Reference(via_4_2, (0.14,0.79)))
inverter_x8_1.add(gdstk.Reference(via_2_1_1, (0.08,0.79)))
inverter_x8_1.add(gdstk.Reference(ntap1_3_1, (-0.98,1.81)))
inverter_x8_1.add(gdstk.Reference(ptap1_3_1, (-0.98,-4.73)))
inverter_x8_1.add(gdstk.Reference(nmos_3_1, (-0.605,-3.6)))
inverter_x8_1.add(gdstk.Reference(pmos_3_1, (-0.605,0.16)))
inverter_x8_1.add(gdstk.Reference(via_4_1_1, (-0.2,-1.15)))
inverter_x8_1.add(gdstk.Label('OUT', (0.62,-1.17), layer=10, texttype=25))
inverter_x8_1.add(gdstk.Label('IN', (-0.54,-1.16), layer=10, texttype=25))
inverter_x8_1.add(gdstk.Label('GND', (-0.455,-3.47), layer=8, texttype=25))
inverter_x8_1.add(gdstk.Label('VP', (-0.455,1.57), layer=8, texttype=25))

pmos = lib.new_cell('pmos')
R(pmos, Activ, [(0,0,0.3,0.3), (0,0,0.83,0.3), (0.53,0,0.83,0.3)])
R(pmos, GatPoly, [(0.34,-0.18,0.49,0.48), (0.34,-0.18,0.49,0.48)])
R(pmos, Cont, [(0.07,0.07,0.23,0.23), (0.6,0.07,0.76,0.23)])
R(pmos, Metal1, [(0.07,0,0.23,0.3), (0.07,0,0.23,0.3), (0.6,0,0.76,0.3), (0.6,0,0.76,0.3)])
R(pmos, pSD, [(-0.18,-0.3,1.01,0.6)])
R(pmos, NWell, [(-0.31,-0.31,1.14,0.61)])
R(pmos, Substrate, [(0.53,0,0.83,0.3)])
R(pmos, HeatTrans, [(0.34,-0.18,0.49,0.48)])
pmos.add(gdstk.Label('pmos', (0.415,0.15), layer=63, texttype=0))
pmos.add(gdstk.Label('pmos', (0.415,0.15), layer=51, texttype=0))

ntap1 = lib.new_cell('ntap1')
R(ntap1, Activ, [(0,0,1.6,0.78)])
A(ntap1, Cont, 0.21, 0.14, 0.16, 0.16, 4, 2, 0.34, 0.34)
R(ntap1, Metal1, [(0.21,0.09,1.39,0.69)])
R(ntap1, Metal1_pin, [(0.21,0.09,1.39,0.69), (0.21,0.14,1.39,0.64)])
R(ntap1, NWell, [(-0.24,-0.24,1.84,1.02), (0,0,1.6,0.78)])
R(ntap1, NWell_2, [(0,0,1.6,0.78)])
ntap1.add(gdstk.Label('well', (0.8,0.01), layer=63, texttype=0))
ntap1.add(gdstk.Label('well', (0.8,0.01), layer=31, texttype=0))

via_5 = lib.new_cell('Via$5')
R(via_5, GatPoly, [(-0.15,-0.15,0.15,0.15)])
R(via_5, Cont, [(-0.08,-0.08,0.08,0.08)])
R(via_5, Metal1, [(-0.13,-0.08,0.13,0.08)])

via_6 = lib.new_cell('Via$6')
R(via_6, Metal1, [(-0.105,-0.35,0.105,0.35)])
R(via_6, Metal2, [(-0.1,-0.35,0.1,0.35)])
R(via_6, Via1, [(-0.095,-0.3,0.095,-0.11), (-0.095,0.11,0.095,0.3)])

ptap1 = lib.new_cell('ptap1')
R(ptap1, Activ, [(0,0,1.6,0.78)])
A(ptap1, Cont, 0.21, 0.14, 0.16, 0.16, 4, 2, 0.34, 0.34)
R(ptap1, Metal1, [(0.21,0.09,1.39,0.69), (0.21,0.14,1.39,0.64)])
R(ptap1, Metal1_pin, [(0.21,0.14,1.39,0.64)])
R(ptap1, pSD, [(-0.03,-0.03,1.63,0.81)])
R(ptap1, Substrate, [(0,0,1.6,0.78)])
ptap1.add(gdstk.Label('sub!', (0.8,0.01), layer=63, texttype=0))
ptap1.add(gdstk.Label('sub!', (0.8,0.01), layer=40, texttype=0))

nmos = lib.new_cell('nmos')
R(nmos, Activ, [(0,0,0.3,0.3), (0,0,0.83,0.3), (0.53,0,0.83,0.3)])
R(nmos, GatPoly, [(0.34,-0.18,0.49,0.48)])
R(nmos, GatPoly_2, [(0.34,-0.18,0.49,0.48)])
R(nmos, Cont, [(0.07,0.07,0.23,0.23), (0.6,0.07,0.76,0.23)])
R(nmos, Metal1, [(0.07,0,0.23,0.3), (0.6,0,0.76,0.3)])
R(nmos, Metal1_pin, [(0.07,0,0.23,0.3), (0.6,0,0.76,0.3)])
R(nmos, HeatTrans, [(0.34,-0.18,0.49,0.48)])
nmos.add(gdstk.Label('nmos', (0.415,0.15), layer=63, texttype=0))
nmos.add(gdstk.Label('nmos', (0.415,0.15), layer=51, texttype=0))

via = lib.new_cell('Via')
R(via, Metal2, [(-0.1,-0.555,0.1,0.555)])
A(via, Via2, -0.095, -0.505, 0.19, 0.19, 1, 3, 0, 0.41)
R(via, Metal3, [(-0.1,-0.555,0.1,0.555)])

via_1 = lib.new_cell('Via$1')
R(via_1, Metal1, [(-0.105,-0.555,0.105,0.555)])
R(via_1, Metal2, [(-0.1,-0.555,0.1,0.555)])
A(via_1, Via1, -0.095, -0.505, 0.19, 0.19, 1, 3, 0, 0.41)

via_7 = lib.new_cell('Via$7')
R(via_7, Metal2, [(-0.555,-0.1,0.555,0.1)])
A(via_7, Via2, -0.505, -0.095, 0.19, 0.19, 3, 1, 0.41, 0)
R(via_7, Metal3, [(-0.555,-0.1,0.555,0.1)])

pfd_nor = lib.new_cell('PFD_NOR')
R(pfd_nor, GatPoly, [(0.53,0.13,0.68,0.41), (0,0.14,0.15,0.41)])
R(pfd_nor, Metal1, [(-0.34,-4.64,1.02,-4.04), (0.19,0.59,0.49,0.89)])
R(pfd_nor, Metal1_pin, [(0.265,-3.705,0.395,-3.575), (-0.325,1.365,-0.195,1.495)])
R(pfd_nor, Metal2_pin, [(-0.675,-2.005,-0.545,-1.875), (0.86,-1.18,0.99,-1.05), (-0.675,-0.715,-0.545,-0.585)])
R(pfd_nor, Metal3, [(-0.315,-1.06,-0.26,-1.02)])
R(pfd_nor, NWell, [(-0.69,-0.55,1.39,2.93)])
pfd_nor.add(gdstk.FlexPath([(-0.315,-1.12),(0.995,-1.12)], 0.2, ends="flush", simple_path=True, layer=10, datatype=0))  # Metal2
pfd_nor.add(gdstk.FlexPath([(0.64,-0.65),(-0.69,-0.65)], 0.25, ends="flush", simple_path=True, layer=10, datatype=0))  # Metal2
pfd_nor.add(gdstk.FlexPath([(0.125,-1.945),(-0.69,-1.945)], 0.25, ends="flush", simple_path=True, layer=10, datatype=0))  # Metal2
pfd_nor.add(gdstk.FlexPath([(-0.19,-3.735),(-0.19,-1.06)], 0.25, ends="flush", simple_path=True, layer=30, datatype=0))  # Metal3
pfd_nor.add(gdstk.FlexPath([(0.87,1.7),(0.87,-3.75)], 0.25, ends="flush", simple_path=True, layer=30, datatype=0))  # Metal3
pfd_nor.add(gdstk.FlexPath([(-0.26,0.59),(-0.26,2.5)], 0.3, ends="flush", simple_path=True, layer=8, datatype=0))  # Metal1
pfd_nor.add(gdstk.FlexPath([(0.02,0.07),(0.02,-2.38)], 0.25, ends="flush", simple_path=True, layer=8, datatype=0))  # Metal1
pfd_nor.add(gdstk.FlexPath([(0.53,0.07),(0.53,-2.38)], 0.25, ends="flush", simple_path=True, layer=8, datatype=0))  # Metal1
pfd_nor.add(gdstk.FlexPath([(0.33,-2.63),(0.33,-4.04)], 0.3, ends="flush", simple_path=True, layer=8, datatype=0))  # Metal1
pfd_nor.add(gdstk.Reference(pmos, (-0.34,0.59)))
pfd_nor.add(gdstk.Reference(pmos, (0.19,0.59)))
pfd_nor.add(gdstk.Reference(ntap1, (-0.45,1.81)))
pfd_nor.add(gdstk.Reference(via_5, (0.02,-0.01)))
pfd_nor.add(gdstk.Reference(via_5, (0.53,-0.01)))
pfd_nor.add(gdstk.Reference(via_5, (0.02,-2.3)))
pfd_nor.add(gdstk.Reference(via_5, (0.54,-2.3)))
pfd_nor.add(gdstk.Reference(via_6, (0.025,-1.79)))
pfd_nor.add(gdstk.Reference(via_6, (0.545,-0.44)))
pfd_nor.add(gdstk.Reference(ptap1, (-0.47,-4.73)))
pfd_nor.add(gdstk.Reference(nmos, (-0.34,-2.93)))
pfd_nor.add(gdstk.Reference(nmos, (0.19,-2.93)))
pfd_nor.add(gdstk.Reference(via, (0.87,1.145)))
pfd_nor.add(gdstk.Reference(via_1, (0.875,1.145)))
pfd_nor.add(gdstk.Reference(via, (0.87,-3.18)))
pfd_nor.add(gdstk.Reference(via_1, (0.875,-3.18)))
pfd_nor.add(gdstk.Reference(via, (-0.19,-3.18)))
pfd_nor.add(gdstk.Reference(via_1, (-0.185,-3.18)))
pfd_nor.add(gdstk.Reference(via_7, (0.295,-1.12)))
pfd_nor.add(gdstk.Label('Out', (0.925,-1.115), layer=10, texttype=25))
pfd_nor.add(gdstk.Label('A', (-0.61,-0.65), layer=10, texttype=25))
pfd_nor.add(gdstk.Label('B', (-0.61,-1.94), layer=10, texttype=25))
pfd_nor.add(gdstk.Label('gd', (0.33,-3.64), layer=8, texttype=25))
pfd_nor.add(gdstk.Label('vp', (-0.26,1.43), layer=8, texttype=25))

via_2_2 = lib.new_cell('Via$2$2')
R(via_2_2, Metal2, [(-0.1,-0.35,0.1,0.35)])
R(via_2_2, Via2, [(-0.095,-0.3,0.095,-0.11), (-0.095,0.11,0.095,0.3)])
R(via_2_2, Metal3, [(-0.1,-0.35,0.1,0.35)])

via_8 = lib.new_cell('Via$8')
R(via_8, Metal1, [(-0.105,-0.35,0.105,0.35)])
R(via_8, Metal2, [(-0.1,-0.35,0.1,0.35)])
R(via_8, Via1, [(-0.095,-0.3,0.095,-0.11), (-0.095,0.11,0.095,0.3)])

via_6_2 = lib.new_cell('Via$6$2')
R(via_6_2, Metal1, [(-0.105,-0.555,0.105,0.555)])
R(via_6_2, Metal2, [(-0.1,-0.555,0.1,0.555)])
A(via_6_2, Via1, -0.095, -0.505, 0.19, 0.19, 1, 3, 0, 0.41)

via_7_2 = lib.new_cell('Via$7$2')
R(via_7_2, Metal2, [(-0.35,-0.1,0.35,0.1)])
R(via_7_2, Via2, [(-0.3,-0.095,-0.11,0.095), (0.11,-0.095,0.3,0.095)])
R(via_7_2, Metal3, [(-0.35,-0.1,0.35,0.1)])

ntap1_4 = lib.new_cell('ntap1$4')
R(ntap1_4, Activ, [(0,0,1.6,0.78)])
A(ntap1_4, Cont, 0.21, 0.14, 0.16, 0.16, 4, 2, 0.34, 0.34)
R(ntap1_4, Metal1, [(0.21,0.09,1.39,0.69)])
R(ntap1_4, Metal1_pin, [(0.21,0.09,1.39,0.69), (0.21,0.14,1.39,0.64)])
R(ntap1_4, NWell, [(-0.24,-0.24,1.84,1.02), (0,0,1.6,0.78)])
R(ntap1_4, NWell_2, [(0,0,1.6,0.78)])
ntap1_4.add(gdstk.Label('well', (0.8,0.01), layer=63, texttype=0))
ntap1_4.add(gdstk.Label('well', (0.8,0.01), layer=31, texttype=0))

ptap1_4 = lib.new_cell('ptap1$4')
R(ptap1_4, Activ, [(0,0,1.6,0.78)])
A(ptap1_4, Cont, 0.21, 0.14, 0.16, 0.16, 4, 2, 0.34, 0.34)
R(ptap1_4, Metal1, [(0.21,0.09,1.39,0.69), (0.21,0.14,1.39,0.64)])
R(ptap1_4, Metal1_pin, [(0.21,0.14,1.39,0.64)])
R(ptap1_4, pSD, [(-0.03,-0.03,1.63,0.81)])
R(ptap1_4, Substrate, [(0,0,1.6,0.78)])
ptap1_4.add(gdstk.Label('sub!', (0.8,0.01), layer=63, texttype=0))
ptap1_4.add(gdstk.Label('sub!', (0.8,0.01), layer=40, texttype=0))

nmos_4 = lib.new_cell('nmos$4')
R(nmos_4, Activ, [(0,0,0.3,0.3), (0,0,0.81,0.6), (0.51,0,0.81,0.3)])
R(nmos_4, GatPoly, [(0.34,-0.18,0.47,0.78)])
R(nmos_4, GatPoly_2, [(0.34,-0.18,0.47,0.78)])
R(nmos_4, Cont, [(0.07,0.22,0.23,0.38), (0.58,0.22,0.74,0.38)])
R(nmos_4, Metal1, [(0.07,0,0.23,0.6), (0.58,0,0.74,0.6)])
R(nmos_4, Metal1_pin, [(0.07,0,0.23,0.6), (0.58,0,0.74,0.6)])
R(nmos_4, HeatTrans, [(0.34,-0.18,0.47,0.78)])
nmos_4.add(gdstk.Label('nmos', (0.405,0.3), layer=63, texttype=0))
nmos_4.add(gdstk.Label('nmos', (0.405,0.3), layer=51, texttype=0))

pmos_4 = lib.new_cell('pmos$4')
R(pmos_4, Activ, [(0,0,0.3,0.3), (0,0,0.81,0.6), (0.51,0,0.81,0.3)])
R(pmos_4, GatPoly, [(0.34,-0.18,0.47,0.78), (0.34,-0.18,0.47,0.78)])
R(pmos_4, Cont, [(0.07,0.22,0.23,0.38), (0.58,0.22,0.74,0.38)])
R(pmos_4, Metal1, [(0.07,0,0.23,0.6), (0.07,0,0.23,0.6), (0.58,0,0.74,0.6), (0.58,0,0.74,0.6)])
R(pmos_4, pSD, [(-0.18,-0.3,0.99,0.9)])
R(pmos_4, NWell, [(-0.31,-0.31,1.12,0.91)])
R(pmos_4, Substrate, [(0.51,0,0.81,0.3)])
R(pmos_4, HeatTrans, [(0.34,-0.18,0.47,0.78)])
pmos_4.add(gdstk.Label('pmos', (0.405,0.3), layer=63, texttype=0))
pmos_4.add(gdstk.Label('pmos', (0.405,0.3), layer=51, texttype=0))

via_5_3 = lib.new_cell('Via$5$3')
R(via_5_3, GatPoly, [(-0.15,-0.66,0.15,0.66)])
A(via_5_3, Cont, -0.08, -0.59, 0.16, 0.16, 1, 4, 0, 0.34)
R(via_5_3, Metal1, [(-0.08,-0.64,0.08,0.64)])

inverter_x4 = lib.new_cell('inverter_x4')
R(inverter_x4, GatPoly, [(-0.265,-2.855,-0.135,-2.655), (-0.35,-2.65,-0.05,-1.81), (-0.35,-0.49,-0.05,0.42)])
R(inverter_x4, Metal1, [(-0.535,-4.45,-0.37,-3.805), (-0.535,-3.805,-0.37,-3.24), (-0.37,-1.79,-0.35,-0.51), (-0.35,-1.79,-0.28,-0.51), (-0.535,0.96,-0.375,1.26), (-0.535,1.245,-0.375,2.235)])
R(inverter_x4, Metal1_pin, [(-0.52,-3.54,-0.39,-3.41), (-0.52,1.51,-0.39,1.64)])
R(inverter_x4, Metal2, [(-0.02,-3.41,0.24,-2.71), (0.53,-1.27,0.9,-1.07), (-0.62,-1.26,-0.28,-1.06), (-0.02,0.44,0.24,1.14)])
R(inverter_x4, Metal2_pin, [(0.555,-1.235,0.685,-1.105), (-0.6,-1.225,-0.47,-1.095)])
R(inverter_x4, Metal3, [(0.04,-3.09,0.24,-2.63), (0.04,-2.7,0.24,-0.24), (0.04,-0.34,0.24,0.76)])
R(inverter_x4, NWell, [(-1.3,-0.84,0.98,0.14), (-1.3,0.14,0.98,0.655), (-1.3,0.655,0.755,2.925), (0.755,0.655,0.98,2.925)])
inverter_x4.add(gdstk.Reference(via_2_2, (0.14,-3.06)))
inverter_x4.add(gdstk.Reference(via_8, (0.08,-3.06)))
inverter_x4.add(gdstk.Reference(via_6_2, (-0.26,-1.16)))
inverter_x4.add(gdstk.Reference(via_7_2, (0.41,-1.17)))
inverter_x4.add(gdstk.Reference(via_2_2, (0.14,0.79)))
inverter_x4.add(gdstk.Reference(via_8, (0.08,0.79)))
inverter_x4.add(gdstk.Reference(ntap1_4, (-0.98,1.81)))
inverter_x4.add(gdstk.Reference(ptap1_4, (-0.98,-4.73)))
inverter_x4.add(gdstk.Reference(nmos_4, (-0.605,-3.4)))
inverter_x4.add(gdstk.Reference(pmos_4, (-0.605,0.54)))
inverter_x4.add(gdstk.Reference(via_5_3, (-0.2,-1.15)))
inverter_x4.add(gdstk.Label('OUT', (0.62,-1.17), layer=10, texttype=25))
inverter_x4.add(gdstk.Label('IN', (-0.54,-1.16), layer=10, texttype=25))
inverter_x4.add(gdstk.Label('GND', (-0.455,-3.47), layer=8, texttype=25))
inverter_x4.add(gdstk.Label('VP', (-0.455,1.57), layer=8, texttype=25))

via_12 = lib.new_cell('Via$12')
R(via_12, Metal2, [(-0.1,-0.35,0.1,0.35)])
R(via_12, Via2, [(-0.095,-0.3,0.095,-0.11), (-0.095,0.11,0.095,0.3)])
R(via_12, Metal3, [(-0.1,-0.35,0.1,0.35)])

via_14 = lib.new_cell('Via$14')
R(via_14, Metal2, [(-0.35,-0.1,0.35,0.1)])
R(via_14, Via2, [(-0.3,-0.095,-0.11,0.095), (0.11,-0.095,0.3,0.095)])
R(via_14, Metal3, [(-0.35,-0.1,0.35,0.1)])

pfd_flip_flop = lib.new_cell('PFD_flip_flop')
R(pfd_flip_flop, Metal2, [(-6.11,-3.81,-5.49,-3.51), (-0.32,-1.49,0.345,-0.99), (0.61,-0.99,0.91,-0.1)])
R(pfd_flip_flop, Metal2_pin, [(-7.765,-1.225,-7.635,-1.095), (-5.915,-0.635,-5.785,-0.505)])
pfd_flip_flop.add(gdstk.FlexPath([(0.34,-1.24),(0.91,-1.24)], 0.5, ends="flush", simple_path=True, layer=10, datatype=0))  # Metal2
pfd_flip_flop.add(gdstk.FlexPath([(1.41,-1.99),(-2.26,-1.99)], 0.5, ends="flush", simple_path=True, layer=10, datatype=0))  # Metal2
pfd_flip_flop.add(gdstk.FlexPath([(-6.835,-1.16),(-7.77,-1.16)], 0.3, ends="flush", simple_path=True, layer=10, datatype=0))  # Metal2
pfd_flip_flop.add(gdstk.FlexPath([(-7.65,1.66),(-5.07,1.66)], 0.3, ends="flush", simple_path=True, layer=10, datatype=0))  # Metal2
pfd_flip_flop.add(gdstk.FlexPath([(-4.93,-0.57),(-5.99,-0.57)], 0.25, ends="flush", simple_path=True, layer=10, datatype=0))  # Metal2
pfd_flip_flop.add(gdstk.FlexPath([(-3.105,-1.16),(-4.63,-1.16)], 0.5, ends="flush", simple_path=True, layer=10, datatype=0))  # Metal2
pfd_flip_flop.add(gdstk.FlexPath([(-4.48,-0.91),(-4.48,-2.43)], 0.3, ends="flush", simple_path=True, layer=10, datatype=0))  # Metal2
pfd_flip_flop.add(gdstk.FlexPath([(-2.01,-1.06),(-2.01,-2.07)], 0.5, ends="flush", simple_path=True, layer=10, datatype=0))  # Metal2
pfd_flip_flop.add(gdstk.FlexPath([(0.32,-1.12),(-0.325,-1.12)], 0.25, ends="flush", simple_path=True, layer=10, datatype=0))  # Metal2
pfd_flip_flop.add(gdstk.FlexPath([(-5.84,-1.08),(-5.84,-3.76)], 0.3, ends="flush", simple_path=True, layer=30, datatype=0))  # Metal3
pfd_flip_flop.add(gdstk.FlexPath([(-7.5,-1.31),(-7.5,1.75)], 0.3, ends="flush", simple_path=True, layer=30, datatype=0))  # Metal3
pfd_flip_flop.add(gdstk.Reference(pfd_nor_1, (2.08,11.06)))
pfd_flip_flop.add(gdstk.Reference(pfd_passgate, (-1.55,0)))
pfd_flip_flop.add(gdstk.Reference(pfd_passgate_2, (4.26,0)))
pfd_flip_flop.add(gdstk.Reference(inverter_x8, (-2.74,0)))
pfd_flip_flop.add(gdstk.Reference(inverter_x8_1, (-4.15,11.06)))
pfd_flip_flop.add(gdstk.Reference(pfd_nor, (-1.07,0)))
pfd_flip_flop.add(gdstk.Reference(inverter_x4, (-6.47,0)))
pfd_flip_flop.add(gdstk.Reference(via_12, (-5.76,-3.66), rotation=pi/2))
pfd_flip_flop.add(gdstk.Reference(via_14, (-7.5,-0.96), rotation=pi/2))
pfd_flip_flop.add(gdstk.Reference(via_12, (-7.29,1.64), rotation=pi/2))
pfd_flip_flop.add(gdstk.Label('clk', (-7.7,-1.16), layer=10, texttype=25))
pfd_flip_flop.add(gdstk.Label('D', (-5.85,-0.57), layer=10, texttype=25))

lib.write_gds('PFD_flip_flop.gds')
